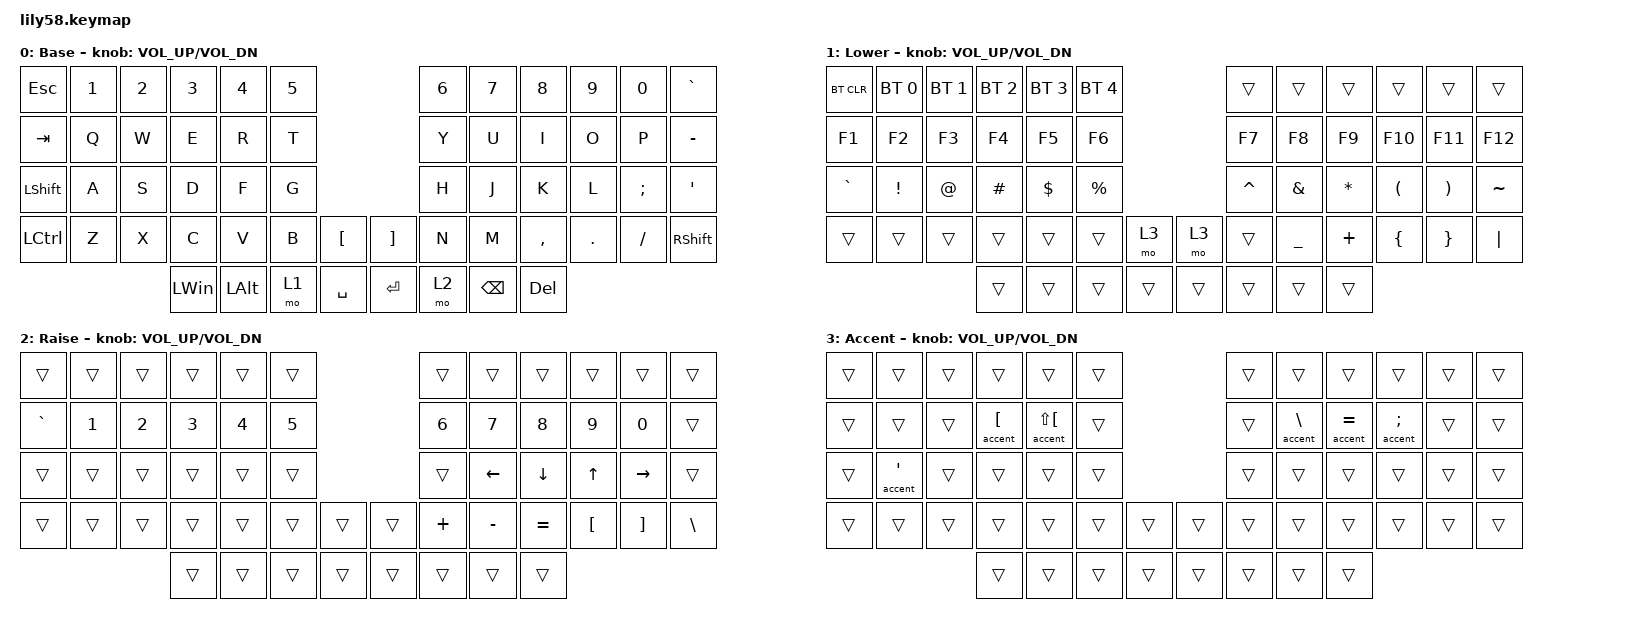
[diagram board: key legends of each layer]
/*
 * Copyright (c) 2020 The ZMK Contributors
 *
 * SPDX-License-Identifier: MIT
 */

#include <behaviors.dtsi>
#include <dt-bindings/zmk/bt.h>
#include <dt-bindings/zmk/keys.h>

/ {
    macros {
        // Lettera accentata: Win+Space (layout EN -> IT), tasto IT, Win+Space (IT -> EN).
        // Il parametro e' il keycode che, sul layout italiano, produce la lettera.
        accent: accent {
            compatible = "zmk,behavior-macro-one-param";
            #binding-cells = <1>;
            wait-ms = <50>;
            tap-ms = <10>;
            bindings = <&macro_tap &kp LG(SPACE) &macro_param_1to1 &macro_tap &kp MACRO_PLACEHOLDER &macro_tap &kp LG(SPACE)>;
        };
    };

    keymap {
        compatible = "zmk,keymap";

        default_layer {
            // ------------------------------------------------------------------------------------------------------------
            // |  ESC  |  1  |  2  |  3   |  4   |  5   |                   |  6   |  7    |  8    |  9   |   0   |   `   |
            // |  TAB  |  Q  |  W  |  E   |  R   |  T   |                   |  Y   |  U    |  I    |  O   |   P   |   -   |
            // | SHIFT |  A  |  S  |  D   |  F   |  G   |                   |  H   |  J    |  K    |  L   |   ;   |   '   |
            // | CTRL  |  Z  |  X  |  C   |  V   |  B   |   "["  |  |  "]"  |  N   |  M    |  ,    |  .   |   /   | SHIFT |
            //                     | GUI  | ALT  | LOWER|  SPACE |  | ENTER | RAISE| BSPC  | DEL   |

            display-name = "Base";
            bindings = <
&kp ESC           &kp N1  &kp N2  &kp N3        &kp N4        &kp N5                         &kp N6  &kp N7    &kp N8      &kp N9   &kp N0    &kp GRAVE
&kp TAB           &kp Q   &kp W   &kp E         &kp R         &kp T                          &kp Y   &kp U     &kp I       &kp O    &kp P     &kp MINUS
&kp LEFT_SHIFT    &kp A   &kp S   &kp D         &kp F         &kp G                          &kp H   &kp J     &kp K       &kp L    &kp SEMI  &kp SQT
&kp LEFT_CONTROL  &kp Z   &kp X   &kp C         &kp V         &kp B   &kp LBKT     &kp RBKT  &kp N  &kp M     &kp COMMA   &kp DOT  &kp FSLH  &kp RSHFT
                                  &kp LEFT_WIN  &kp LEFT_ALT  &mo 1   &kp SPACE    &kp RET   &mo 2   &kp BSPC  &kp DELETE
            >;

            sensor-bindings = <&inc_dec_kp C_VOL_UP C_VOL_DN>;
        };

        lower_layer {
            // ------------------------------------------------------------------------------------------------------------
            // | BTCLR | BT1 | BT2 |  BT3 |  BT4 |  BT5 |                   |      |       |       |      |       |       |
            // |  F1   |  F2 |  F3 |  F4  |  F5  |  F6  |                   |  F7  |  F8   |  F9   |  F10 |  F11  |  F12  |
            // |   `   |  !  |  @  |  #   |  $   |  %   |                   |  ^   |  &    |  *    |  (   |   )   |   ~   |
            // |       |     |     |      |      |      | ACCENT |  | ACCENT|      |  _    |  +    |  {   |   }   |  "|"  |
            //                     |      |      |      |        |  |       |      |       |       |

            display-name = "Lower";
            bindings = <
&bt BT_CLR  &bt BT_SEL 0  &bt BT_SEL 1  &bt BT_SEL 2  &bt BT_SEL 3  &bt BT_SEL 4                    &trans     &trans     &trans           &trans    &trans    &trans
&kp F1      &kp F2        &kp F3        &kp F4        &kp F5        &kp F6                          &kp F7     &kp F8     &kp F9           &kp F10   &kp F11   &kp F12
&kp GRAVE   &kp EXCL      &kp AT        &kp HASH      &kp DOLLAR    &kp PRCNT                       &kp CARET  &kp AMPS   &kp STAR         &kp LPAR  &kp RPAR  &kp TILDE
&trans      &trans        &trans        &trans        &trans        &trans        &mo 3     &mo 3   &trans     &kp UNDER  &kp PLUS         &kp LBRC  &kp RBRC  &kp PIPE
                                        &trans        &trans        &trans        &trans    &trans  &trans     &trans     &trans
            >;

            sensor-bindings = <&inc_dec_kp C_VOL_UP C_VOL_DN>;
        };

        raise_layer {
            // ------------------------------------------------------------------------------------------------------------
            // |       |     |     |      |      |      |                   |      |       |       |      |       |       |
            // |   `   |  1  |  2  |  3   |  4   |  5   |                   |  6   |   7   |   8   |  9   |   0   |       |
            // |       |     |     |      |      |      |                   |      |   <-  |   v   |  ^   |  ->   |       |
            // |       |     |     |      |      |      |        |  |       |  +   |   -   |   =   |  [   |   ]   |   \   |
            //                     |      |      |      |        |  |       |      |       |       |

            display-name = "Raise";
            bindings = <
&trans     &trans  &trans  &trans   &trans   &trans                     &trans       &trans     &trans     &trans    &trans     &trans
&kp GRAVE  &kp N1  &kp N2  &kp N3   &kp N4   &kp N5                     &kp N6       &kp N7     &kp N8     &kp N9    &kp N0     &trans
&trans     &trans  &trans  &trans   &trans   &trans                     &trans       &kp LEFT   &kp DOWN   &kp UP    &kp RIGHT  &trans
&trans     &trans  &trans  &trans   &trans   &trans   &trans    &trans  &kp PLUS     &kp MINUS  &kp EQUAL  &kp LBKT  &kp RBKT   &kp BSLH
                           &trans   &trans   &trans   &trans    &trans  &trans       &trans     &trans
            >;

            sensor-bindings = <&inc_dec_kp C_VOL_UP C_VOL_DN>;
        };

        accent_layer {
            // ------------------------------------------------------------------------------------------------------------
            // |       |     |     |      |      |      |                   |      |       |       |      |       |       |
            // |       |     |     |  è   |  é   |      |                   |      |   ù   |   ì   |  ò   |       |       |
            // |       |  à  |     |      |      |      |                   |      |       |       |      |       |       |
            // |       |     |     |      |      |      |        |  |       |      |       |       |      |       |       |
            //                     |      |      |      |        |  |       |      |       |       |
            // Maiuscole: attiva Caps Lock prima di premere la lettera.

            display-name = "Accent";
            bindings = <
&trans  &trans         &trans  &trans         &trans               &trans                     &trans  &trans          &trans          &trans          &trans  &trans
&trans  &trans         &trans  &accent LBKT   &accent LS(LBKT)     &trans                     &trans  &accent BSLH    &accent EQUAL   &accent SEMI    &trans  &trans
&trans  &accent SQT    &trans  &trans         &trans               &trans                     &trans  &trans          &trans          &trans          &trans  &trans
&trans  &trans         &trans  &trans         &trans               &trans  &trans    &trans   &trans  &trans          &trans          &trans          &trans  &trans
                               &trans         &trans               &trans  &trans    &trans   &trans  &trans          &trans
            >;

            sensor-bindings = <&inc_dec_kp C_VOL_UP C_VOL_DN>;
        };

        extra_2 { status = "reserved"; };

        extra_3 { status = "reserved"; };
    };
};
